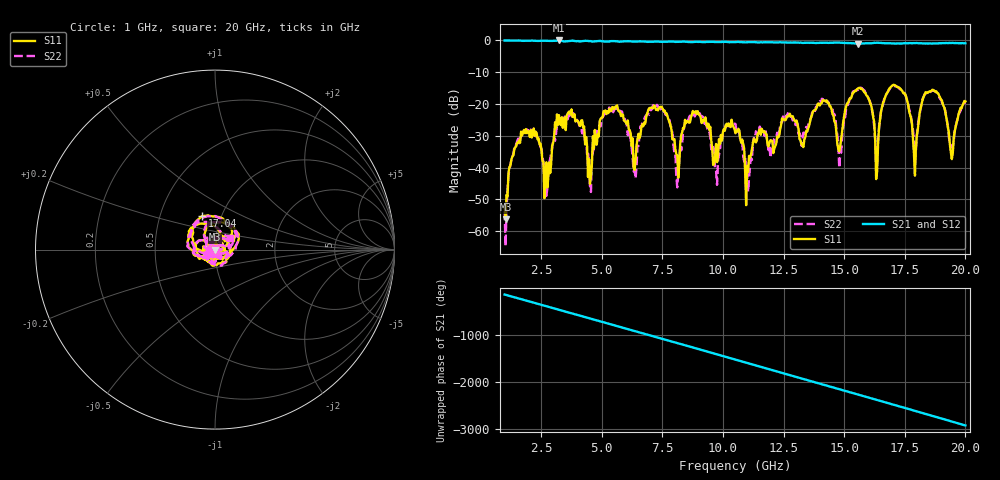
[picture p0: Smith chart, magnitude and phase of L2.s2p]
!Agilent Technologies,E8361C,US49010278,A.09.20.08
!Agilent E8361C: A.09.20.08
!Date: Tuesday, December 15, 2015 15:46:14
!Correction: S11(Full 2 Port(1,2))
!S21(Full 2 Port(1,2))
!S12(Full 2 Port(1,2))
!S22(Full 2 Port(1,2))
!S2P File: Measurements: S11, S21, S12, S22:
# Hz S  RI  R 50
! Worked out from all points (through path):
!   476 points, 1 GHz to 20 GHz, reference 50 ohm
!   highest |S21| = -0.07 dB at 3.24 GHz (marker M1); lowest = -1.1 dB at 15.56 GHz (marker M2)
!   group delay of S21, straight-line fit = 407 ps
!   lowest |S11| = -56.2 dB at 1.04 GHz (marker M3), VSWR 1.00, Z = 50.1 - j0.0999 ohm
!   |S11| at or under -10 dB: start of sweep to end of sweep
!   |S22| runs from -64.7 to -14.4 dB; largest |S21 - S12| = 0.012
!   S11 on the Smith chart (normalised r, x): 1 GHz: 1.00, +0.00; 17.04 GHz: 0.81, +0.31; 20 GHz: 1.18, +0.15
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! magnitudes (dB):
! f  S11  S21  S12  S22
! 1 GHz  -52.3  -0.1  -0.1  -53.8
! 1.04 GHz  -56.2  -0.1  -0.1  -64.7
! 1.48 GHz  -33.2  -0.1  -0.1  -32.6
! 2.72 GHz  -38.3  -0.2  -0.1  -48.9
! 3.24 GHz  -23.5  -0.1  -0.1  -24.0
! 4.2 GHz  -25.2  -0.3  -0.2  -29.2
! 4.52 GHz  -45.2  -0.3  -0.3  -45.7
! 5.76 GHz  -22.5  -0.5  -0.4  -22.1
! 6.36 GHz  -40.8  -0.4  -0.4  -40.7
! 7.36 GHz  -21.4  -0.5  -0.5  -21.1
! 8.12 GHz  -36.2  -0.5  -0.5  -46.2
! 10.52 GHz  -29.2  -0.6  -0.5  -26.4
! 11.04 GHz  -41.4  -0.6  -0.6  -47.7
! 13.68 GHz  -23.4  -0.8  -0.8  -22.7
! 14.84 GHz  -33.2  -0.8  -0.8  -35.4
! 15.56 GHz  -15.2  -1.1  -1.1  -15.7
! 16.36 GHz  -41.3  -0.8  -0.8  -38.7
! 16.84 GHz  -15.5  -1.0  -0.9  -15.7
! 17.04 GHz  -14.0  -1.0  -1.0  -14.4
! 17.92 GHz  -42.5  -0.9  -0.8  -38.9
! 18.36 GHz  -16.3  -1.0  -1.0  -16.8
! 20 GHz  -19.2  -1.0  -0.9  -19.4
